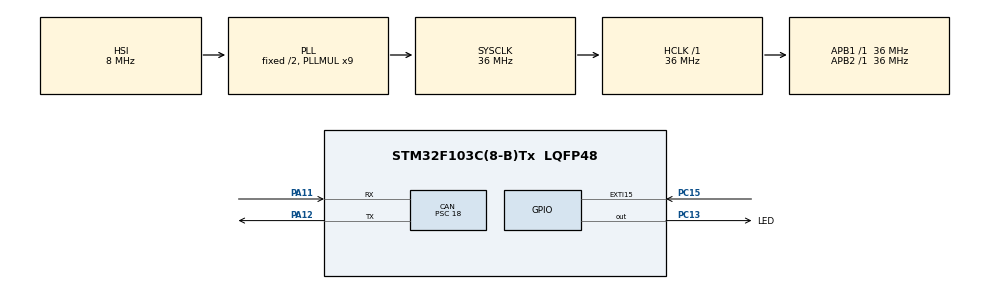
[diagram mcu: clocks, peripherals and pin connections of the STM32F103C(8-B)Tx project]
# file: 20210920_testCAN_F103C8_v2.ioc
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CAN.BS1=CAN_BS1_12TQ
CAN.BS2=CAN_BS2_4TQ
CAN.CalculateTimeBit=8500
CAN.CalculateTimeQuantum=500.0
CAN.Prescaler=18
Mcu.Family=STM32F1
Mcu.Name=STM32F103C(8-B)Tx
Mcu.Package=LQFP48
NVIC.EXTI15_10_IRQn=true\:0\:0\:false\:false\:true\:true\:true
NVIC.PriorityGroup=NVIC_PRIORITYGROUP_4
NVIC.USB_LP_CAN1_RX0_IRQn=true\:0\:0\:false\:false\:true\:true\:true
PA11.Mode=Master
PA11.Signal=CAN_RX
PA12.Mode=Master
PA12.Signal=CAN_TX
PA13.Mode=Serial_Wire
PA13.Signal=SYS_JTMS-SWDIO
PA14.Mode=Serial_Wire
PA14.Signal=SYS_JTCK-SWCLK
PC13-TAMPER-RTC.GPIO_Label=LED
PC13-TAMPER-RTC.Signal=GPIO_Output
PC15-OSC32_OUT.Signal=GPXTI15
PD0-OSC_IN.Mode=HSE-External-Clock-Source
PD0-OSC_IN.Signal=RCC_OSC_IN
PD1-OSC_OUT.Mode=HSE-External-Clock-Source
PD1-OSC_OUT.Signal=RCC_OSC_OUT
ProjectManager.HeapSize=0x200
ProjectManager.StackSize=0x400
ProjectManager.TargetToolchain=STM32CubeIDE
RCC.AHBFreq_Value=36000000
RCC.APB1Freq_Value=36000000
RCC.APB1TimFreq_Value=36000000
RCC.APB2Freq_Value=36000000
RCC.APB2TimFreq_Value=36000000
RCC.HCLKFreq_Value=36000000
RCC.PLLMUL=RCC_PLL_MUL9
RCC.SYSCLKFreq_VALUE=36000000
RCC.SYSCLKSource=RCC_SYSCLKSOURCE_PLLCLK
RCC.USBFreq_Value=36000000
board=custom

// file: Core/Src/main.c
/* USER CODE BEGIN Header */
/**
  ******************************************************************************
  * @file           : main.c
  * @brief          : Main program body
  ******************************************************************************
  * @attention
  *
  * <h2><center>&copy; Copyright (c) 2021 STMicroelectronics.
  * All rights reserved.</center></h2>
  *
  * This software component is licensed by ST under BSD 3-Clause license,
  * the "License"; You may not use this file except in compliance with the
  * License. You may obtain a copy of the License at:
  *                        opensource.org/licenses/BSD-3-Clause
  *
  ******************************************************************************
  */
/* USER CODE END Header */

#include "main.h"

CAN_HandleTypeDef hcan;

/* USER CODE BEGIN PV */
uint8_t a, r;
CAN_TxHeaderTypeDef pTxHeader;
CAN_RxHeaderTypeDef pRxHeader;
uint32_t pTxMailbox;
uint32_t pRxMailbox;
CAN_FilterTypeDef sFilterConfig;

/* USER CODE END PV */

void SystemClock_Config(void);
static void MX_GPIO_Init(void);
static void MX_CAN_Init(void);

int main(void)
{

  /* MCU Configuration--------------------------------------------------------*/

  /* Reset of all peripherals, Initializes the Flash interface and the Systick. */
  HAL_Init();

  /* Configure the system clock */
  SystemClock_Config();

  /* Initialize all configured peripherals */
  MX_GPIO_Init();
  MX_CAN_Init();
  /* USER CODE BEGIN 2 */
  pTxHeader.DLC = 1; // длина кадра, которая будет передана (от 0 до 8)
  pTxHeader.IDE = CAN_ID_STD;
  pTxHeader.RTR = CAN_RTR_DATA; // тип сообщения – Data или Remote
  pTxHeader.StdId = 0x245; // тип сообщения – Data или Remote
  pTxHeader.TransmitGlobalTime = 0;

  sFilterConfig.FilterBank = 0;
  sFilterConfig.FilterFIFOAssignment=CAN_FILTER_FIFO0;
  sFilterConfig.FilterIdHigh=0x244<<5;
  sFilterConfig.FilterIdLow=0;
  sFilterConfig.FilterMaskIdHigh=0;
  sFilterConfig.FilterMaskIdLow=0;
  sFilterConfig.FilterScale =CAN_FILTERSCALE_32BIT;

  sFilterConfig.FilterActivation = ENABLE;

  HAL_CAN_ConfigFilter(&hcan, &sFilterConfig);
  HAL_CAN_Start(&hcan);
  HAL_CAN_ActivateNotification(&hcan, CAN_IT_RX_FIFO0_MSG_PENDING);

  /* USER CODE END 2 */

  /* Infinite loop */
  while (1)
  {

  }
}

void SystemClock_Config(void)
{
  RCC_OscInitTypeDef RCC_OscInitStruct = {0};
  RCC_ClkInitTypeDef RCC_ClkInitStruct = {0};

  /** Initializes the CPU, AHB and APB busses clocks
  */
  RCC_OscInitStruct.OscillatorType = RCC_OSCILLATORTYPE_HSI;
  RCC_OscInitStruct.HSIState = RCC_HSI_ON;
  RCC_OscInitStruct.HSICalibrationValue = RCC_HSICALIBRATION_DEFAULT;
  RCC_OscInitStruct.PLL.PLLState = RCC_PLL_ON;
  RCC_OscInitStruct.PLL.PLLSource = RCC_PLLSOURCE_HSI_DIV2;
  RCC_OscInitStruct.PLL.PLLMUL = RCC_PLL_MUL9;
  if (HAL_RCC_OscConfig(&RCC_OscInitStruct) != HAL_OK)
  {
    Error_Handler();
  }
  /** Initializes the CPU, AHB and APB busses clocks
  */
  RCC_ClkInitStruct.ClockType = RCC_CLOCKTYPE_HCLK|RCC_CLOCKTYPE_SYSCLK
                              |RCC_CLOCKTYPE_PCLK1|RCC_CLOCKTYPE_PCLK2;
  RCC_ClkInitStruct.SYSCLKSource = RCC_SYSCLKSOURCE_PLLCLK;
  RCC_ClkInitStruct.AHBCLKDivider = RCC_SYSCLK_DIV1;
  RCC_ClkInitStruct.APB1CLKDivider = RCC_HCLK_DIV1;
  RCC_ClkInitStruct.APB2CLKDivider = RCC_HCLK_DIV1;

  if (HAL_RCC_ClockConfig(&RCC_ClkInitStruct, FLASH_LATENCY_1) != HAL_OK)
  {
    Error_Handler();
  }
}

static void MX_CAN_Init(void)
{

  hcan.Instance = CAN1;
  hcan.Init.Prescaler = 18;
  hcan.Init.Mode = CAN_MODE_NORMAL;
  hcan.Init.SyncJumpWidth = CAN_SJW_1TQ;
  hcan.Init.TimeSeg1 = CAN_BS1_12TQ;
  hcan.Init.TimeSeg2 = CAN_BS2_4TQ;
  hcan.Init.TimeTriggeredMode = DISABLE;
  hcan.Init.AutoBusOff = DISABLE;
  hcan.Init.AutoWakeUp = DISABLE;
  hcan.Init.AutoRetransmission = DISABLE;
  hcan.Init.ReceiveFifoLocked = DISABLE;
  hcan.Init.TransmitFifoPriority = DISABLE;
  if (HAL_CAN_Init(&hcan) != HAL_OK)
  {
    Error_Handler();
  }

}

static void MX_GPIO_Init(void)
{
  GPIO_InitTypeDef GPIO_InitStruct = {0};

  /* GPIO Ports Clock Enable */
  __HAL_RCC_GPIOC_CLK_ENABLE();
  __HAL_RCC_GPIOD_CLK_ENABLE();
  __HAL_RCC_GPIOA_CLK_ENABLE();

  /*Configure GPIO pin Output Level */
  HAL_GPIO_WritePin(LED_GPIO_Port, LED_Pin, GPIO_PIN_RESET);

  /*Configure GPIO pin : LED_Pin */
  GPIO_InitStruct.Pin = LED_Pin;
  GPIO_InitStruct.Mode = GPIO_MODE_OUTPUT_PP;
  GPIO_InitStruct.Pull = GPIO_NOPULL;
  GPIO_InitStruct.Speed = GPIO_SPEED_FREQ_LOW;
  HAL_GPIO_Init(LED_GPIO_Port, &GPIO_InitStruct);

  /*Configure GPIO pin : PC15 */
  GPIO_InitStruct.Pin = GPIO_PIN_15;
  GPIO_InitStruct.Mode = GPIO_MODE_IT_RISING;
  GPIO_InitStruct.Pull = GPIO_NOPULL;
  HAL_GPIO_Init(GPIOC, &GPIO_InitStruct);

  /* EXTI interrupt init*/
  HAL_NVIC_SetPriority(EXTI15_10_IRQn, 0, 0);
  HAL_NVIC_EnableIRQ(EXTI15_10_IRQn);

}

void Error_Handler(void)
{
}

/************************ (C) COPYRIGHT STMicroelectronics *****END OF FILE****/
